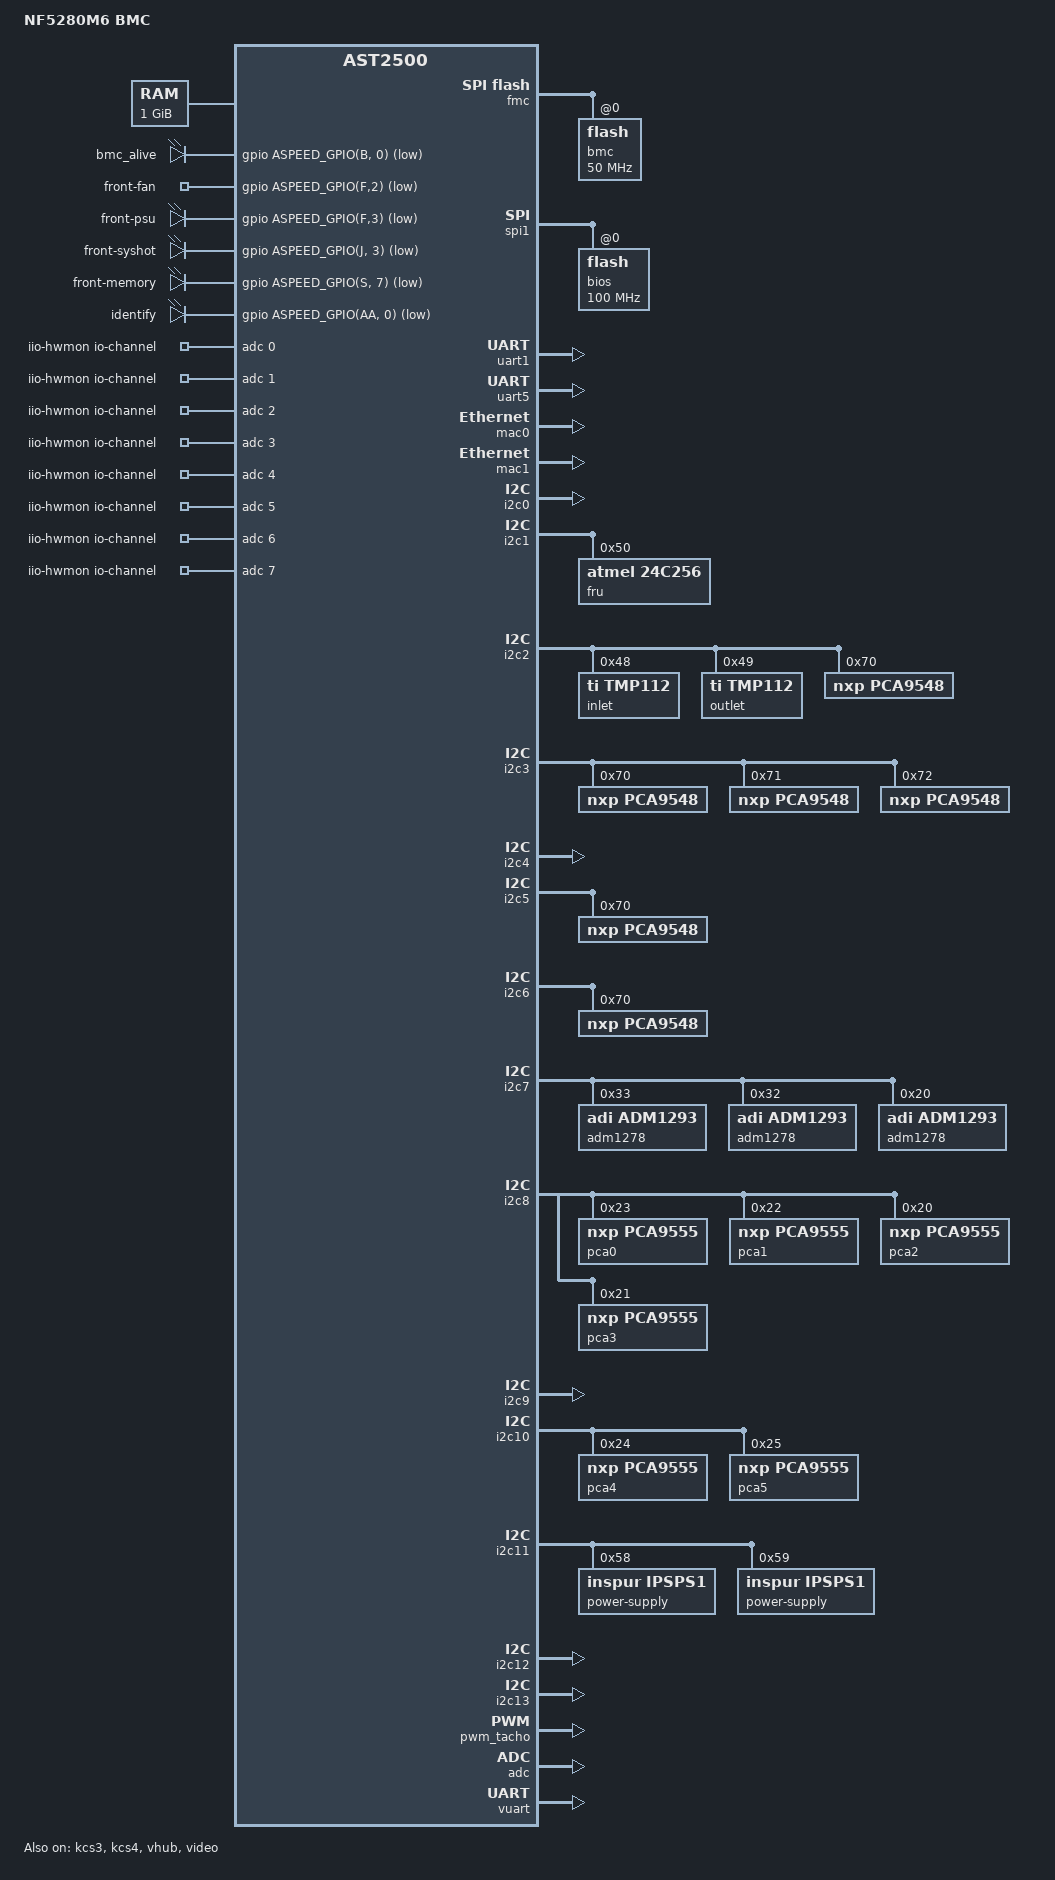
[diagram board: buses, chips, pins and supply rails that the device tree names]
// SPDX-License-Identifier: GPL-2.0
// Copyright (c) 2021 Inspur Corporation
/dts-v1/;

#include "aspeed-g5.dtsi"
#include <dt-bindings/gpio/aspeed-gpio.h>
#include <dt-bindings/i2c/i2c.h>
#include <dt-bindings/leds/leds-pca955x.h>

/ {
	model = "NF5280M6 BMC";
	compatible = "inspur,nf5280m6-bmc", "aspeed,ast2500";

	chosen {
		stdout-path = &uart5;
		bootargs = "console=ttyS4,115200 earlycon";
	};

	memory@80000000 {
		reg = <0x80000000 0x40000000>;
	};

	reserved-memory {
		#address-cells = <1>;
		#size-cells = <1>;
		ranges;

		vga_memory: framebuffer@9f000000 {
			no-map;
			reg = <0x9f000000 0x01000000>; /* 16M */
		};

		video_engine_memory: jpegbuffer {
			size = <0x02000000>;	/* 32M */
			alignment = <0x01000000>;
			compatible = "shared-dma-pool";
			reusable;
		};
	};

	leds {
	    compatible = "gpio-leds";

		bmc_alive {
			label = "bmc_alive";
			gpios = <&gpio ASPEED_GPIO(B, 0) GPIO_ACTIVE_LOW>;
			linux,default-trigger = "timer";
			led-pattern = <1000 1000>;
		};

		front-fan {
			label = "front-fan";
			gpios = <&gpio ASPEED_GPIO(F,2) GPIO_ACTIVE_LOW>;
		};

	    front-psu {
			label = "front-psu";
			gpios = <&gpio ASPEED_GPIO(F,3) GPIO_ACTIVE_LOW>;
		};

	    front-syshot {
			label = "front-syshot";
			gpios = <&gpio ASPEED_GPIO(J, 3) GPIO_ACTIVE_LOW>;
		};

		front-memory {
			label = "front-memory";
			gpios = <&gpio ASPEED_GPIO(S, 7) GPIO_ACTIVE_LOW>;
		};

		identify {
			label = "identify";
			gpios = <&gpio ASPEED_GPIO(AA, 0) GPIO_ACTIVE_LOW>;
		};
	};

	iio-hwmon {
		compatible = "iio-hwmon";
		io-channels = <&adc 0>, <&adc 1>, <&adc 2>, <&adc 3>,
			<&adc 4>, <&adc 5>, <&adc 6>, <&adc 7>,
			<&adc 8>, <&adc 9>, <&adc 10>, <&adc 11>,
			<&adc 12>, <&adc 13>, <&adc 14>, <&adc 15>;
	};
};

&fmc {
	status = "okay";
	flash@0 {
		status = "okay";
		m25p,fast-read;
		label = "bmc";
		spi-max-frequency = <50000000>;
#include "openbmc-flash-layout.dtsi"
	};
};

&spi1 {
	status = "okay";
	pinctrl-names = "default";
	pinctrl-0 = <&pinctrl_spi1_default>;
	flash@0 {
		status = "okay";
		m25p,fast-read;
		label = "bios";
		spi-max-frequency = <100000000>;
	};
};

&uart1 {
	status = "okay";
};

&uart5 {
	status = "okay";
};

&mac0 {
	status = "okay";

	pinctrl-names = "default";
	pinctrl-0 = <&pinctrl_rmii1_default>;
	clocks = <&syscon ASPEED_CLK_GATE_MAC1CLK>,
		<&syscon ASPEED_CLK_MAC1RCLK>;
	clock-names = "MACCLK", "RCLK";
	use-ncsi;
};

&mac1 {
	status = "okay";

	pinctrl-names = "default";
	pinctrl-0 = <&pinctrl_rgmii2_default &pinctrl_mdio2_default>;
};

&gpio {
	status = "okay";
	/* Enable GPIOE0 and GPIOE2 pass-through by default */
	pinctrl-names = "pass-through";
	pinctrl-0 = <&pinctrl_gpie0_default
			&pinctrl_gpie2_default>;
	gpio-line-names =
	/*A0-A7*/	"","MAC2LINK","BMC_RESET_CPLD","","BMC_SCL9","","MAC2MDC_R","",
	/*B0-B7*/	"BMC_INIT_OK","FM_SKU_ID2","FM_SPD_DDRCPU_LVLSHFT_DIS_R_N",
				"FM_CPU_MSMI_CATERR_LVT3_BMC_N","","FM_CPU0_PROCHOT_LVT3_N",
				"FM_CPU_MEM_THERMTRIP_LVT3_N","BIOS_LOAD_DEFAULT_R_N",
	/*C0-C7*/	"","","","","","","","",
	/*D0-D7*/	"","BMC_SD2CMD","BMC_SD2DAT0","BMC_SD2DAT1","BMC_SD2DAT2",
				"BMC_SD2DAT3","BMC_SD2DET","BMC_SD2WPT",
	/*E0-E7*/	"FM_BOARD_ID0","FM_BOARD_ID1","FM_BOARD_ID2","FM_BOARD_ID3",
				"FM_BOARD_ID4","FM_BOARD_ID5","","",
	/*F0-F7*/	"PSU1_PRESENT_N","PSU2_PRESENT_N","FAN_FAULT_LED_N","PSU_FAULT_LED_N",
				"BIOS_DEBUG_MODE_N","FP_LCD_RESET","FAN_TYPE_SEL",
				"RST_GLB_RST_WARN_N",
	/*G0-G7*/	"IRQ_LPTM21L_ALERT_N","IRQ_PLD_ALERT_N","AC_FAIL_N","FP_LCD_PRESENT_BMC",
				"BMC_JTAG_TCK_MUX_SEL","BMC_BIOS_RESERVED","SYS_NMI_N","BMC_NMI_N",
	/*H0-H7*/	"JTAG_BMC_TDI","JTAG_BMC_TDO","JTAG_BMC_TCK","JTAG_BMC_TMS","FM_BOARD_ID6",
				"FM_SKU_ID0","IRQ_SML1_PMBUS_ALERT_N","IRQ_SML0_ALERT_MUX_N",
	/*I0-I7*/	"FM_CPU_ERR0_LVT3_BMC_N","FM_CPU_ERR1_LVT3_BMC_N","FM_BMC_PCH_SCI_LPC_N",
				"FM_SYS_THROTTLE_LVC3","SPI2_PCH_CS0_N","","","",
	/*J0-J7*/	"FM_CPU0_SKTOCC_LVT3_N","FM_CPU1_SKTOCC_LVT3_N","","SYSHOT_FAULT_LED_N",
				"VGA_HSYNC","VGA_VSYNC","","",
	/*K0-K7*/	"","","","","","","","",
	/*L0-L7*/	"","","","","","","SYS_UART_TXD1","SYS_UART_RXD1",
	/*M0-M7*/	"","","","","","","","",
	/*N0-N7*/	"","","","","","","","",
	/*O0-O7*/	"","","","","","","","",
	/*P0-P7*/	"","","","","","","","",
	/*Q0-Q7*/	"","","","","","","FM_PCH_BMC_THERMTRIP_N","INTRUDER_N",
	/*R0-R7*/	"SPI_BMC_BOOT_CS1_R_N","FM_CPU_MEMHOT_LVC3_N",
				"DBP_CPU_PREQ_N","FM_CPU_ERR2_LVT3_BMC_N",
				"RISER_NCSI_EN_N","","LOM_NCSI_EN_N","OCP_NCSI_EN_N",
	/*S0-S7*/	"BMC_XDP_PRDY_N","SIO_POWER_GOOD","BMC_PWR_DEBUG_R_N","BMC_DEBUG_EN_R_N","",
				"GPIOS5_BMC","","GPIOS7_BMC",
	/*T0-T7*/	"","","","","","","","",
	/*U0-U7*/	"","","","","","","","",
	/*V0-V7*/	"","","","","","","","",
	/*W0-W7*/	"","","","","","","","",
	/*X0-X7*/	"","","","","","","","",
	/*Y0-Y7*/	"","BMC_DET_UID_N","BMC_JTAG_SEL","SIO_ONCONTROL","","","","",
	/*Z0-Z7*/	"XDP_PRESENT_N","DBP_SYSPWROK","BMC_JTAG_SEL","FM_SMI_ACTIVE_N","",
				"GPIOZ5","","",
	/*AA0-AA7*/	"FP_BMC_SYSLED_N","PS_PWROK","RST_PLTRST_BMC_N","HDA_SDO_BMC",
				"FM_SLPS4_R_N","","POWER_BUTTON","POWER_OUT",
	/*AB0-AB7*/	"RESET_OUT","RESET_BUTTON","BIOS_REFLASH","POST_COMPLETE","","","","",
	/*AC0-AC7*/	"","","","","","","","";
};

&i2c0 {
	/* FP_LCD */
	status = "okay";
};

&i2c1 {
	status = "okay";

	eeprom@50 {
		compatible = "atmel,24c256";
		reg = <0x50>;
		label = "fru";
	};
};

&i2c2 {
	status = "okay";

	tmp112@48 {
		compatible = "ti,tmp112";
		reg = <0x48>;
		label = "inlet";
	};

	tmp112@49 {
		compatible = "ti,tmp112";
		reg = <0x49>;
		label = "outlet";
	};

	pca9548@70 {
		compatible = "nxp,pca9548";
		reg = <0x70>;
	};
};

&i2c3 {
	status = "okay";

	pca9548@70 {
		compatible = "nxp,pca9548";
		reg = <0x70>;
	};

	pca9548@71 {
		compatible = "nxp,pca9548";
		reg = <0x71>;
	};

	pca9548@72 {
		compatible = "nxp,pca9548";
		reg = <0x72>;
	};
};

&i2c4 {
	/* IPMB */
	status = "okay";
};

&i2c5 {
	status = "okay";

	pca9548@70 {
		compatible = "nxp,pca9548";
		reg = <0x70>;
	};
};

&i2c6 {
	status = "okay";

	pca9548@70 {
		compatible = "nxp,pca9548";
		reg = <0x70>;
	};
};

&i2c7 {
	status = "okay";

	adm1278@33 {
		compatible = "adi,adm1293";
		reg = <0x33>;
	};

	adm1278@32 {
		compatible = "adi,adm1293";
		reg = <0x32>;
	};

	adm1278@20 {
		compatible = "adi,adm1293";
		reg = <0x20>;
	};
};

&i2c8 {
	status = "okay";

	pca0: pca9555@23 {
		compatible = "nxp,pca9555";
		reg = <0x23>;
		#address-cells = <1>;
		#size-cells = <0>;

		gpio-controller;
		#gpio-cells = <2>;

		gpio@0 {
			reg = <0>;
			type = <PCA955X_TYPE_GPIO>;
		};

		gpio@1 {
			reg = <1>;
			type = <PCA955X_TYPE_GPIO>;
		};

		gpio@2 {
			reg = <2>;
			type = <PCA955X_TYPE_GPIO>;
		};

		gpio@3 {
			reg = <3>;
			type = <PCA955X_TYPE_GPIO>;
		};

		gpio@4 {
			reg = <4>;
			type = <PCA955X_TYPE_GPIO>;
		};

		gpio@5 {
			reg = <5>;
			type = <PCA955X_TYPE_GPIO>;
		};

		gpio@6 {
			reg = <6>;
			type = <PCA955X_TYPE_GPIO>;
		};
	};

	pca1: pca9555@22 {
		compatible = "nxp,pca9555";
		reg = <0x22>;
		#address-cells = <1>;
		#size-cells = <0>;

		gpio-controller;
		#gpio-cells = <2>;

		gpio@0 {
			reg = <0>;
			type = <PCA955X_TYPE_GPIO>;
		};

		gpio@1 {
			reg = <1>;
			type = <PCA955X_TYPE_GPIO>;
		};

		gpio@2 {
			reg = <2>;
			type = <PCA955X_TYPE_GPIO>;
		};

		gpio@3 {
			reg = <3>;
			type = <PCA955X_TYPE_GPIO>;
		};

		gpio@4 {
			reg = <4>;
			type = <PCA955X_TYPE_GPIO>;
		};

		gpio@5 {
			reg = <5>;
			type = <PCA955X_TYPE_GPIO>;
		};

		gpio@6 {
			reg = <6>;
			type = <PCA955X_TYPE_GPIO>;
		};

		gpio@7 {
			reg = <7>;
			type = <PCA955X_TYPE_GPIO>;
		};
	};

	pca2: pca9555@20 {
		compatible = "nxp,pca9555";
		reg = <0x20>;
		#address-cells = <1>;
		#size-cells = <0>;

		gpio-controller;
		#gpio-cells = <2>;

		gpio@0 {
			reg = <0>;
			type = <PCA955X_TYPE_GPIO>;
		};

		gpio@1 {
			reg = <1>;
			type = <PCA955X_TYPE_GPIO>;
		};

		gpio@2 {
			reg = <2>;
			type = <PCA955X_TYPE_GPIO>;
		};

		gpio@3 {
			reg = <3>;
			type = <PCA955X_TYPE_GPIO>;
		};

		gpio@4 {
			reg = <4>;
			type = <PCA955X_TYPE_GPIO>;
		};

		gpio@5 {
			reg = <5>;
			type = <PCA955X_TYPE_GPIO>;
		};

		gpio@6 {
			reg = <6>;
			type = <PCA955X_TYPE_GPIO>;
		};

		gpio@7 {
			reg = <7>;
			type = <PCA955X_TYPE_GPIO>;
		};
	};

	pca3: pca9555@21 {
		compatible = "nxp,pca9555";
		reg = <0x21>;
		#address-cells = <1>;
		#size-cells = <0>;

		gpio-controller;
		#gpio-cells = <2>;

		gpio@0 {
			reg = <0>;
			type = <PCA955X_TYPE_GPIO>;
		};

		gpio@1 {
			reg = <1>;
			type = <PCA955X_TYPE_GPIO>;
		};

		gpio@2 {
			reg = <2>;
			type = <PCA955X_TYPE_GPIO>;
		};

		gpio@3 {
			reg = <3>;
			type = <PCA955X_TYPE_GPIO>;
		};

		gpio@4 {
			reg = <4>;
			type = <PCA955X_TYPE_GPIO>;
		};

		gpio@5 {
			reg = <5>;
			type = <PCA955X_TYPE_GPIO>;
		};

		gpio@6 {
			reg = <6>;
			type = <PCA955X_TYPE_GPIO>;
		};

		gpio@7 {
			reg = <7>;
			type = <PCA955X_TYPE_GPIO>;
		};
	};
};

&i2c9 {
	/* cpld */
	status = "okay";
};

&i2c10 {
	status = "okay";

	pca4: pca9555@24 {
		compatible = "nxp,pca9555";
		reg = <0x24>;
		#address-cells = <1>;
		#size-cells = <0>;

		gpio-controller;
		#gpio-cells = <2>;

		gpio@0 {
			reg = <0>;
			type = <PCA955X_TYPE_GPIO>;
		};

		gpio@1 {
			reg = <1>;
			type = <PCA955X_TYPE_GPIO>;
		};

		gpio@2 {
			reg = <2>;
			type = <PCA955X_TYPE_GPIO>;
		};

		gpio@3 {
			reg = <3>;
			type = <PCA955X_TYPE_GPIO>;
		};

		gpio@4 {
			reg = <4>;
			type = <PCA955X_TYPE_GPIO>;
		};

		gpio@5 {
			reg = <5>;
			type = <PCA955X_TYPE_GPIO>;
		};

		gpio@6 {
			reg = <6>;
			type = <PCA955X_TYPE_GPIO>;
		};

		gpio@7 {
			reg = <7>;
			type = <PCA955X_TYPE_GPIO>;
		};
	};

	pca5: pca9555@25 {
		compatible = "nxp,pca9555";
		reg = <0x25>;
		#address-cells = <1>;
		#size-cells = <0>;

		gpio-controller;
		#gpio-cells = <2>;

		gpio@0 {
			reg = <0>;
			type = <PCA955X_TYPE_GPIO>;
		};

		gpio@1 {
			reg = <1>;
			type = <PCA955X_TYPE_GPIO>;
		};

		gpio@2 {
			reg = <2>;
			type = <PCA955X_TYPE_GPIO>;
		};

		gpio@3 {
			reg = <3>;
			type = <PCA955X_TYPE_GPIO>;
		};

		gpio@4 {
			reg = <4>;
			type = <PCA955X_TYPE_GPIO>;
		};

		gpio@5 {
			reg = <5>;
			type = <PCA955X_TYPE_GPIO>;
		};

		gpio@6 {
			reg = <6>;
			type = <PCA955X_TYPE_GPIO>;
		};
	};
};

&i2c11 {
	status = "okay";

	power-supply@58 {
		compatible = "inspur,ipsps1";
		reg = <0x58>;
	};

	power-supply@59 {
		compatible = "inspur,ipsps1";
		reg = <0x59>;
	};
};

&i2c12 {
	status = "okay";
};

&i2c13 {
	status = "okay";
};

&pwm_tacho {
	status = "okay";
	pinctrl-names = "default";
	pinctrl-0 = <&pinctrl_pwm0_default &pinctrl_pwm1_default
		&pinctrl_pwm2_default &pinctrl_pwm3_default
		&pinctrl_pwm4_default &pinctrl_pwm5_default
		&pinctrl_pwm6_default &pinctrl_pwm7_default>;

	fan@0 {
		reg = <0x00>;
		aspeed,fan-tach-ch = /bits/ 8 <0x00 0x01>;
	};

	fan@1 {
		reg = <0x01>;
		aspeed,fan-tach-ch = /bits/ 8 <0x02 0x03>;
	};

	fan@2 {
		reg = <0x02>;
		aspeed,fan-tach-ch = /bits/ 8 <0x04 0x05>;
	};

	fan@3 {
		reg = <0x03>;
		aspeed,fan-tach-ch = /bits/ 8 <0x06 0x07>;
	};

	fan@4 {
		reg = <0x04>;
		aspeed,fan-tach-ch = /bits/ 8 <0x08 0x09>;
	};

	fan@5 {
		reg = <0x05>;
		aspeed,fan-tach-ch = /bits/ 8 <0x0a 0x0b>;
	};

	fan@6 {
		reg = <0x06>;
		aspeed,fan-tach-ch = /bits/ 8 <0x0c 0x0d>;
	};

	fan@7 {
		reg = <0x07>;
		aspeed,fan-tach-ch = /bits/ 8 <0x0e 0x0f>;
	};
};

&kcs3 {
	status = "okay";
	aspeed,lpc-io-reg = <0xca2>;
};

&kcs4 {
	status = "okay";
	aspeed,lpc-io-reg = <0xca4>;
};

&adc {
	status = "okay";
	pinctrl-names = "default";
	pinctrl-0 = <&pinctrl_adc0_default &pinctrl_adc1_default
	 &pinctrl_adc2_default &pinctrl_adc3_default &pinctrl_adc4_default
	 &pinctrl_adc5_default &pinctrl_adc6_default &pinctrl_adc7_default
	 &pinctrl_adc8_default &pinctrl_adc9_default &pinctrl_adc10_default
	 &pinctrl_adc11_default &pinctrl_adc12_default &pinctrl_adc13_default
	 &pinctrl_adc14_default &pinctrl_adc15_default>;
};

&vhub {
	status = "okay";
};

&video {
	status = "okay";
	memory-region = <&video_engine_memory>;
};

&vuart {
	status = "okay";
};
